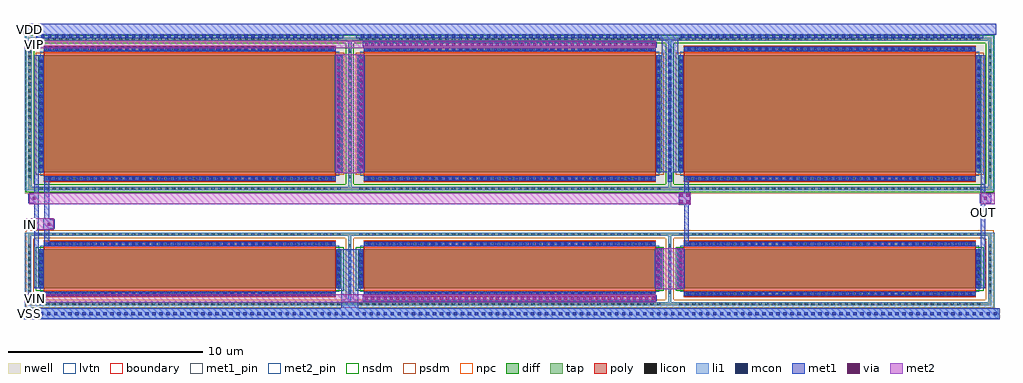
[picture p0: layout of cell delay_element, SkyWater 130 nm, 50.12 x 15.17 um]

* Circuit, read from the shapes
.subckt delay_element IN OUT VDD VIN VIP VSS
XM1 VSS IN n1 VSS sky130_fd_pr__nfet_01v8_lvt w=2 l=15
XM2 n2 VIN VSS VSS sky130_fd_pr__nfet_01v8_lvt w=2 l=15
XM3 OUT n1 n2 VSS sky130_fd_pr__nfet_01v8_lvt w=2 l=15
XM4 n3 IN n1 VDD sky130_fd_pr__pfet_01v8_lvt w=6 l=15
XM5 VDD VIP n3 VDD sky130_fd_pr__pfet_01v8_lvt w=6 l=15
XM6 OUT n1 VDD VDD sky130_fd_pr__pfet_01v8_lvt w=6 l=15
.ends

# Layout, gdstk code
import gdstk
lib = gdstk.Library(unit=1e-6, precision=1e-09)
def R(c, l, rs):  # rectangles x0, y0, x1, y1
    for r in rs: c.add(gdstk.rectangle(r[:2], r[2:], *l))
def A(c, l, x, y, w, h, nx, ny, dx, dy):  # array of equal rectangles
    R(c, l, [(x+i*dx, y+j*dy, x+i*dx+w, y+j*dy+h) for i in range(nx) for j in range(ny)])
nwell = (64, 20)
diff = (65, 20)
tap = (65, 44)
poly = (66, 20)
licon = (66, 44)
li1 = (67, 20)
mcon = (67, 44)
met1_pin = (68, 16)
met1 = (68, 20)
via = (68, 44)
met2_pin = (69, 16)
met2 = (69, 20)
nsdm = (93, 44)
psdm = (94, 20)
npc = (95, 20)
lvtn = (125, 44)
boundary = (235, 4)

sky130_fd_pr__nfet_01v8_ = lib.new_cell('sky130_fd_pr__nfet_01v8_lvt_PHPD3W')
R(sky130_fd_pr__nfet_01v8_, diff, [(-7.79,-1,7.79,1)])
R(sky130_fd_pr__nfet_01v8_, tap, [(-8.3,-1.87,8.3,-1.7), (-8.3,-1.7,-8.13,1.7), (8.13,-1.7,8.3,1.7), (-8.3,1.7,8.3,1.87)])
R(sky130_fd_pr__nfet_01v8_, poly, [(-7.5,-1.44,7.5,1.44)])
A(sky130_fd_pr__nfet_01v8_, licon, -7.735, -1.87, 0.17, 0.17, 46, 2, 0.34, 3.57)
A(sky130_fd_pr__nfet_01v8_, licon, -7.395, -1.36, 0.17, 0.17, 44, 2, 0.34, 2.55)
A(sky130_fd_pr__nfet_01v8_, licon, -8.3, -1.275, 0.17, 0.17, 1, 8, 0, 0.34)
A(sky130_fd_pr__nfet_01v8_, licon, 8.13, -1.275, 0.17, 0.17, 1, 8, 0, 0.34)
A(sky130_fd_pr__nfet_01v8_, licon, -7.73, -0.935, 0.17, 0.17, 1, 6, 0, 0.34)
A(sky130_fd_pr__nfet_01v8_, licon, 7.56, -0.935, 0.17, 0.17, 1, 6, 0, 0.34)
R(sky130_fd_pr__nfet_01v8_, li1, [(-8.3,-1.87,8.3,-1.7), (-8.3,-1.7,-8.13,1.7), (8.13,-1.7,8.3,1.7), (-7.5,-1.36,7.5,-1.19), (-7.73,-1.02,-7.56,1.02), (7.56,-1.02,7.73,1.02), (-7.5,1.19,7.5,1.36), (-8.3,1.7,8.3,1.87)])
A(sky130_fd_pr__nfet_01v8_, mcon, -7.285, -1.36, 0.17, 0.17, 41, 2, 0.36, 2.55)
A(sky130_fd_pr__nfet_01v8_, mcon, -7.73, -0.805, 0.17, 0.17, 1, 5, 0, 0.36)
A(sky130_fd_pr__nfet_01v8_, mcon, 7.56, -0.805, 0.17, 0.17, 1, 5, 0, 0.36)
R(sky130_fd_pr__nfet_01v8_, met1, [(-7.48,-1.39,7.48,-1.16), (-7.76,-1,-7.53,1), (7.53,-1,7.76,1), (-7.48,1.16,7.48,1.39)])
R(sky130_fd_pr__nfet_01v8_, nsdm, [(-7.915,-1.125,7.915,1.125)])
R(sky130_fd_pr__nfet_01v8_, psdm, [(-8.425,-1.995,8.425,-1.575), (-8.425,-1.575,-8.005,1.575), (8.005,-1.575,8.425,1.575), (-8.425,1.575,8.425,1.995)])
R(sky130_fd_pr__nfet_01v8_, npc, [(-7.495,-1.46,7.495,-1.09), (-7.495,1.09,7.495,1.46)])
R(sky130_fd_pr__nfet_01v8_, lvtn, [(-7.68,-1.18,7.68,1.18)])
R(sky130_fd_pr__nfet_01v8_, boundary, [(-8.21,-1.78,8.21,1.78)])

sky130_fd_pr__pfet_01v8_ = lib.new_cell('sky130_fd_pr__pfet_01v8_lvt_NZTZAV')
R(sky130_fd_pr__pfet_01v8_, nwell, [(-8.48,-4.095,8.48,4.095)])
R(sky130_fd_pr__pfet_01v8_, diff, [(-7.79,-3,7.79,3)])
R(sky130_fd_pr__pfet_01v8_, tap, [(-8.3,-3.915,8.3,-3.745), (-8.3,-3.745,-8.13,3.745), (8.13,-3.745,8.3,3.745), (-8.3,3.745,8.3,3.915)])
R(sky130_fd_pr__pfet_01v8_, poly, [(-7.5,-3.485,7.5,3.485)])
A(sky130_fd_pr__pfet_01v8_, licon, -7.735, -3.915, 0.17, 0.17, 46, 2, 0.34, 7.66)
A(sky130_fd_pr__pfet_01v8_, licon, -7.395, -3.405, 0.17, 0.17, 44, 2, 0.34, 6.64)
A(sky130_fd_pr__pfet_01v8_, licon, -8.3, -3.315, 0.17, 0.17, 1, 20, 0, 0.34)
A(sky130_fd_pr__pfet_01v8_, licon, 8.13, -3.315, 0.17, 0.17, 1, 20, 0, 0.34)
A(sky130_fd_pr__pfet_01v8_, licon, -7.73, -2.805, 0.17, 0.17, 1, 17, 0, 0.34)
A(sky130_fd_pr__pfet_01v8_, licon, 7.56, -2.805, 0.17, 0.17, 1, 17, 0, 0.34)
R(sky130_fd_pr__pfet_01v8_, li1, [(-8.3,-3.915,8.3,-3.745), (-8.3,-3.745,-8.13,3.745), (8.13,-3.745,8.3,3.745), (-7.5,-3.405,7.5,-3.235), (-7.73,-3.02,-7.56,3.02), (7.56,-3.02,7.73,3.02), (-7.5,3.235,7.5,3.405), (-8.3,3.745,8.3,3.915)])
A(sky130_fd_pr__pfet_01v8_, mcon, -7.285, -3.405, 0.17, 0.17, 41, 2, 0.36, 6.64)
A(sky130_fd_pr__pfet_01v8_, mcon, -7.73, -2.785, 0.17, 0.17, 1, 16, 0, 0.36)
A(sky130_fd_pr__pfet_01v8_, mcon, 7.56, -2.785, 0.17, 0.17, 1, 16, 0, 0.36)
R(sky130_fd_pr__pfet_01v8_, met1, [(-7.48,-3.435,7.48,-3.205), (-7.76,-3,-7.53,3), (7.53,-3,7.76,3), (-7.48,3.205,7.48,3.435)])
R(sky130_fd_pr__pfet_01v8_, nsdm, [(-8.425,-4.04,8.425,-3.62), (-8.425,-3.62,-8.005,3.62), (8.005,-3.62,8.425,3.62), (-8.425,3.62,8.425,4.04)])
R(sky130_fd_pr__pfet_01v8_, psdm, [(-7.915,-3.125,7.915,3.125)])
R(sky130_fd_pr__pfet_01v8_, npc, [(-7.495,-3.505,7.495,-3.135), (-7.495,3.135,7.495,3.505)])
R(sky130_fd_pr__pfet_01v8_, lvtn, [(-7.68,-3.18,7.68,3.18)])
R(sky130_fd_pr__pfet_01v8_, boundary, [(-8.215,-3.83,8.215,3.83)])

delay_element = lib.new_cell('delay_element')
R(delay_element, li1, [(-0.535,-8.735,49.465,-8.235), (-0.535,-8.235,49.285,-7.885), (-0.535,-7.885,-0.185,-4.315), (48.935,-7.885,49.285,-4.315), (-0.53,-2.135,-0.18,5.525), (48.94,-2.135,49.29,5.525), (32.51,-1.655,32.68,5.215), (-0.53,5.525,49.29,5.875)])
A(delay_element, mcon, -0.46, -8.57, 0.17, 0.17, 139, 1, 0.36, 0)
A(delay_element, mcon, 32.51, -1.545, 0.17, 0.17, 1, 19, 0, 0.36)
A(delay_element, mcon, 0.305, 5.695, 0.17, 0.17, 43, 1, 0.36, 0)
A(delay_element, mcon, 16.735, 5.695, 0.17, 0.17, 43, 1, 0.36, 0)
A(delay_element, mcon, 33.165, 5.695, 0.17, 0.17, 43, 1, 0.36, 0)
R(delay_element, met1_pin, [(-0.535,-8.735,-0.035,-8.235), (48.555,-3.435,48.805,-3.185), (-0.59,5.845,-0.035,6.4)])
R(delay_element, met1, [(-0.595,-8.765,49.525,-8.205), (15.735,-8.205,16.585,-7.185), (16.825,-7.845,31.925,-7.545), (-0.055,-7.185,0.445,-5.185), (15.475,-7.185,16.845,-5.185), (31.825,-7.185,32.215,-5.185), (32.965,-7.185,33.355,-5.185), (48.305,-7.185,48.805,-5.185), (-0.055,-5.185,0.195,-2.815), (48.555,-5.185,48.805,-2.815), (0.465,-5.025,0.715,-4.135), (33.325,-5.025,33.575,-2.9), (0.415,-4.135,1.015,-3.635), (0.465,-3.635,0.715,-1.425), (33.05,-2.9,33.65,-2.24), (-0.355,-2.815,0.195,-2.315), (48.505,-2.815,49.105,-2.315), (-0.055,-2.315,0.195,-1.22), (48.555,-2.315,48.805,-1.22), (33.325,-2.24,33.575,-1.425), (32.48,-1.715,32.71,-1.22), (-0.055,-1.22,0.45,4.78), (15.4,-1.22,15.79,4.78), (16.54,-1.22,16.93,4.78), (31.91,-1.22,33.28,4.78), (48.31,-1.22,48.805,4.78), (32.17,4.78,33.02,5.665), (16.83,5.185,31.93,5.485), (0.07,5.665,15.83,5.845), (16.5,5.665,48.69,5.845), (-0.59,5.845,49.35,6.4)])
A(delay_element, via, 16.94, -7.77, 0.15, 0.15, 47, 1, 0.32, 0)
A(delay_element, via, 31.945, -7.06, 0.15, 0.15, 1, 6, 0, 0.32)
A(delay_element, via, 33.085, -7.06, 0.15, 0.15, 1, 6, 0, 0.32)
A(delay_element, via, 15.52, -1.015, 0.15, 0.15, 1, 18, 0, 0.32)
A(delay_element, via, 16.66, -1.015, 0.15, 0.15, 1, 18, 0, 0.32)
A(delay_element, via, 16.945, 5.26, 0.15, 0.15, 47, 1, 0.32, 0)
R(delay_element, via, [(0.64,-3.96,0.79,-3.81), (33.115,-2.805,33.265,-2.655), (33.435,-2.805,33.585,-2.655), (-0.13,-2.64,0.02,-2.49), (48.73,-2.64,48.88,-2.49), (33.115,-2.485,33.265,-2.335), (33.435,-2.485,33.585,-2.335)])
R(delay_element, met2_pin, [(-0.19,-7.895,0.21,-7.495), (-0.535,-4.185,0.065,-3.585), (-0.21,5.135,0.19,5.535)])
R(delay_element, met2, [(-0.535,-7.895,31.875,-7.495), (31.875,-7.235,33.305,-5.135), (-0.535,-4.185,0.965,-3.585), (-0.31,-2.87,33.68,-2.27), (48.555,-2.865,49.29,-2.265), (-0.305,-2.27,0.195,-2.265), (33.08,-2.27,33.575,-2.265), (15.45,-1.27,16.88,4.83), (-0.53,5.135,31.88,5.535)])
delay_element.add(gdstk.Reference(sky130_fd_pr__nfet_01v8_, (40.805,-6.185)))
delay_element.add(gdstk.Reference(sky130_fd_pr__nfet_01v8_, (24.375,-6.185)))
delay_element.add(gdstk.Reference(sky130_fd_pr__pfet_01v8_, (40.81,1.78)))
delay_element.add(gdstk.Reference(sky130_fd_pr__nfet_01v8_, (7.945,-6.185)))
delay_element.add(gdstk.Reference(sky130_fd_pr__pfet_01v8_, (24.38,1.78)))
delay_element.add(gdstk.Reference(sky130_fd_pr__pfet_01v8_, (7.95,1.78)))
delay_element.add(gdstk.Label('VDD', (-0.312,6.122), layer=68, texttype=5))
delay_element.add(gdstk.Label('VSS', (-0.285,-8.485), layer=68, texttype=5))
delay_element.add(gdstk.Label('VIP', (-0.01,5.335), layer=69, texttype=5))
delay_element.add(gdstk.Label('VIN', (0.01,-7.695), layer=69, texttype=5))
delay_element.add(gdstk.Label('OUT', (48.68,-3.31), layer=68, texttype=5))
delay_element.add(gdstk.Label('IN', (-0.235,-3.885), layer=69, texttype=5))

lib.write_gds('delay_element.gds')
